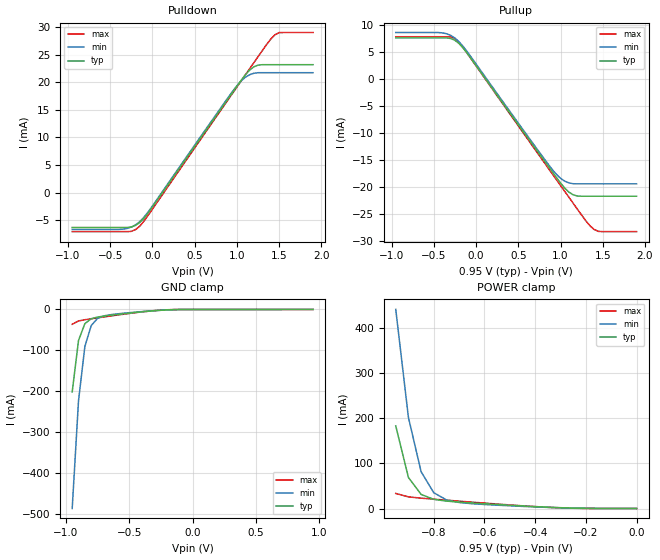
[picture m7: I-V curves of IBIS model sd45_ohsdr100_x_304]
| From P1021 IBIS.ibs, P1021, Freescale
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[Model]   sd45_ohsdr100_x_304
Model_type 3-state
Enable Active-High
Polarity Non-Inverting
|   TYP   MIN   MAX
C_comp   1.60pF   1.60pF   1.67pF
[Model Spec]
Vmeas   0.475   0.425   0.605
[Voltage Range]   0.95   0.85   1.21
[Temperature Range] 65   125   -40
[Driver Schedule]
| Model_Name  Rise_on_dly   Rise_off_dly   Fall_on_dly   Fall_off_dly
sd45_ohsdr100_x_30   0ps   NA   0ps   NA
sd45_ohsdr100_x_34   320ps   NA   320ps   NA
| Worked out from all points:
|   slope of the pulldown table from 0 to 0.142 V, typ, clamps not added: 45.6 ohm
|   slope of the pullup table from 0 to 0.142 V, typ, clamps not added: 45.5 ohm
|   GND clamp passes 1 mA (typ) near -0.19 V on its own axis
|   POWER clamp passes 1 mA (typ) near -0.25 V on its own axis
[Pullup]
|   Vout(V)   TYP   WCS   BCS
-950mV    7.673mA    8.666mA    7.886mA
-400mV    7.673mA    8.608mA    7.886mA
-250mV    7.224mA    7.649mA    7.542mA
-100mV    4.728mA    5.025mA    4.721mA
800mV     -14.94mA   -14.6mA    -15.28mA
1V        -19.23mA   -18.36mA   -19.69mA
1.1V      -20.94mA   -19.22mA   -21.89mA
1.15V     -21.42mA   -19.37mA   -22.99mA
1.3V      -21.69mA   -19.39mA   -26.25mA
1.4V      -21.69mA   -19.39mA   -27.87mA
1.5V      -21.69mA   -19.39mA   -28.26mA
1.9V      -21.69mA   -19.39mA   -28.26mA
[Pulldown]
|   Vout(V)   TYP   WCS   BCS
-950mV    -6.32mA    -6.677mA   -7.074mA
-350mV    -6.32mA    -6.625mA   -7.074mA
-250mV    -6.223mA   -6.253mA   -7.019mA
-150mV    -5.42mA    -5.26mA    -6.077mA
0V        -2.59mA    -2.42mA    -2.989mA
950mV     18.18mA    18.36mA    18.02mA
1.1V      21.33mA    20.89mA    21.32mA
1.2V      22.77mA    21.6mA     23.52mA
1.25V     23.08mA    21.7mA     24.61mA
1.45V     23.16mA    21.7mA     28.57mA
1.5V      23.16mA    21.7mA     28.97mA
1.9V      23.16mA    21.7mA     28.98mA
[GND Clamp]
|   Vout(V)   TYP   WCS   BCS
-950mV    -201.6mA   -486.5mA   -36.16mA
-900mV    -75.75mA   -222.9mA   -28.05mA
-850mV    -34.66mA   -90.59mA   -25.11mA
-800mV    -22.71mA   -39.37mA   -22.78mA
-750mV    -18.57mA   -21.91mA   -20.52mA
-700mV    -16.25mA   -15.71mA   -18.29mA
-650mV    -14.32mA   -12.88mA   -16.07mA
-400mV    -5.858mA   -5.175mA   -5.911mA
-200mV    -1.108mA   -1.072mA   -756.7uA
950mV     70.01uA    122.9uA    16.34uA
[POWER Clamp]
|   Vout(V)   TYP   WCS   BCS
-950mV    183.5mA    442.2mA    33.42mA
-900mV    68.86mA    202.2mA    25.88mA
-850mV    31.34mA    81.75mA    23.04mA
-800mV    20.35mA    35.06mA    20.76mA
-750mV    16.45mA    19.08mA    18.55mA
-700mV    14.22mA    13.35mA    16.36mA
-650mV    12.35mA    10.71mA    14.18mA
-300mV    1.805mA    1.559mA    1.409mA
0V        0A         0A         0A
[Ramp]
R_load=50.00
dV/dt_r  2.2428e-01/6.4141e-11  1.9173e-01/6.5657e-11  3.0370e-01/6.5055e-11
dV/dt_f  2.2428e-01/6.6042e-11  1.9173e-01/6.8481e-11  3.0372e-01/6.6195e-11
